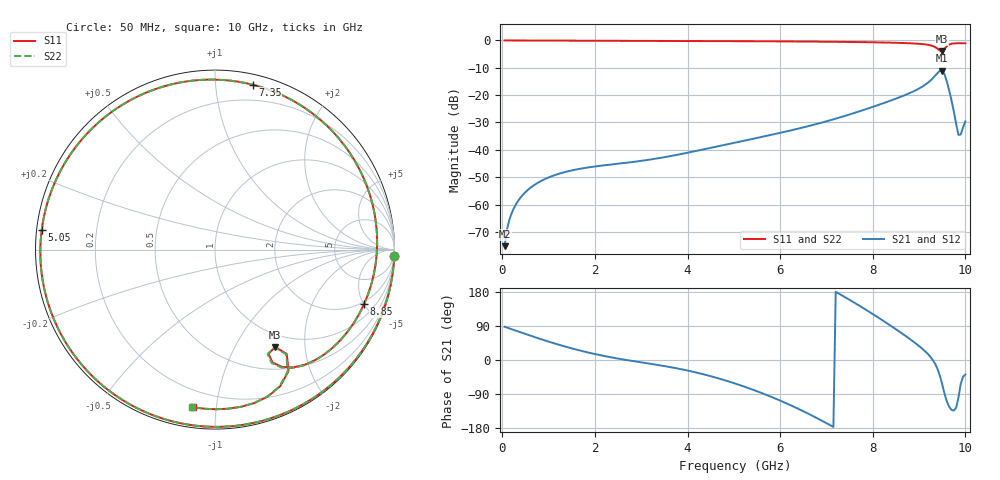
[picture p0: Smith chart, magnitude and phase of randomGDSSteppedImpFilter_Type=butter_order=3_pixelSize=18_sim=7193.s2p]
! freq	dB(S11)	phase(S11)	dB(S12)	phase(S12)
!  dB(S21)	phase(S21)	dB(S22)	phase(S22)
!S-par simulation data
#  GHz  S  DB  R 50
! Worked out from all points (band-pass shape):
!   200 points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, 50 MHz to 10 GHz, reference 50 ohm
!   highest |S21| = -11.08 dB at 9.5 GHz (marker M1); lowest = -75.2 dB at 50 MHz (marker M2)
!   |S21| within 3 dB of the highest: 9.281 GHz to 9.582 GHz (301.6 MHz wide, 3.2 % of centre)
!   lowest |S11| = -3.9 dB at 9.5 GHz (marker M3), VSWR 4.53, Z = 40.3 - j73.7 ohm
!   |S11| at or under -10 dB: nowhere
!   |S22| runs from -3.9 to 0.0 dB; largest |S21 - S12| = 0
!   S11 on the Smith chart (normalised r, x): 50 MHz: 0, -53; 5.05 GHz: 0.01, +0.06; 7.35 GHz: 0.08, +1.25; 8.85 GHz: 1.79, -5.00; 10 GHz: 0.11, -0.87
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0.05  -0.00 -2.2  -75.23 87.8  -75.23 87.8  -0.00 -2.2
0.1  -0.01 -4.3  -69.23 85.6  -69.23 85.6  -0.01 -4.3
0.2  -0.01 -8.6  -63.25 81.3  -63.25 81.3  -0.01 -8.6
0.5  -0.03 -21.4  -55.47 68.7  -55.47 68.7  -0.03 -21.4
1  -0.05 -42.3  -50.10 48.5  -50.10 48.5  -0.05 -42.3
1.75  -0.09 -72.1  -46.72 22.8  -46.72 22.8  -0.09 -72.2
2.55  -0.12 -101.8  -44.98 2.7  -44.98 2.7  -0.12 -101.8
3.4  -0.16 -131.1  -42.99 -14.0  -42.99 -14.0  -0.16 -131.3
4.25  -0.20 -159.4  -40.18 -34.8  -40.18 -34.8  -0.20 -159.6
5.05  -0.25 173.6  -37.29 -62.9  -37.29 -62.9  -0.25 173.4
5.9  -0.32 142.7  -34.17 -101.9  -34.17 -101.9  -0.32 142.4
6.7  -0.41 109.2  -30.94 -147.4  -30.94 -147.4  -0.41 108.9
7.35  -0.52 77.1  -27.85 169.4  -27.85 169.4  -0.52 76.7
7.85  -0.63 48.5  -25.15 132.8  -25.15 132.8  -0.63 48.0
8.35  -0.79 16.0  -22.22 93.5  -22.22 93.5  -0.79 15.5
8.85  -1.07 -20.2  -18.85 50.9  -18.85 50.9  -1.07 -20.7
9.25  -1.80 -52.2  -14.59 7.4  -14.59 7.4  -1.80 -52.6
9.4  -3.02 -63.0  -11.88 -24.1  -11.88 -24.1  -3.03 -63.4
9.5  -3.90 -58.3  -11.08 -64.7  -11.08 -64.7  -3.91 -58.7
9.6  -2.04 -58.8  -14.99 -109.5  -14.99 -109.5  -2.05 -59.1
9.85  -1.02 -85.1  -34.54 -99.3  -34.54 -99.3  -1.02 -85.4
10  -1.04 -97.9  -29.62 -38.2  -29.62 -38.2  -1.04 -98.2
